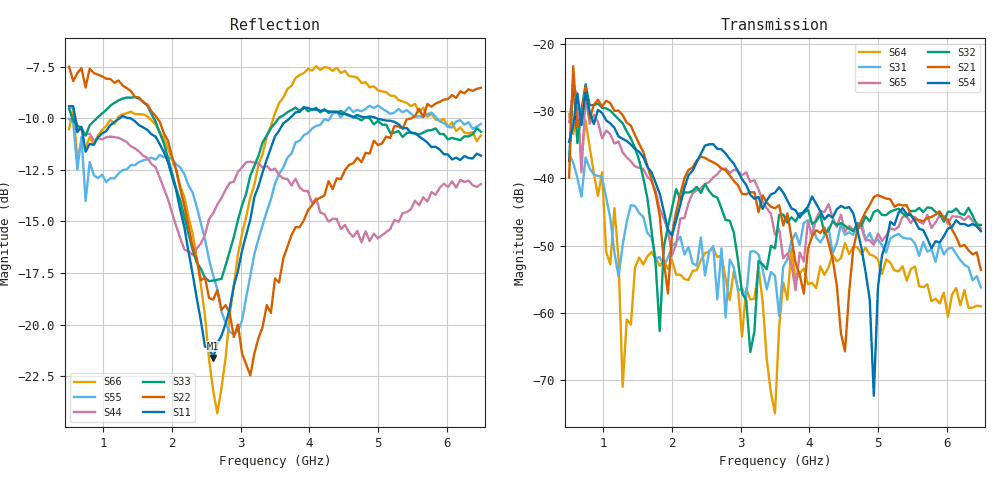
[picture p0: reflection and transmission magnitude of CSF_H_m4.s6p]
!Keysight Technologies,M9804A,MY58100912,A.14.10.03
!Date: Thursday, April 27, 2023 10:28:33
!Correction: S11(C  6-Port  )
!S12(C  6-Port  )
!S13(C  6-Port  )
!S14(C  6-Port  )
!S15(C  6-Port  )
!S16(C  6-Port  )
!S21(C  6-Port  )
!S22(C  6-Port  )
!S23(C  6-Port  )
!S24(C  6-Port  )
!S25(C  6-Port  )
!S26(C  6-Port  )
!S31(C  6-Port  )
!S32(C  6-Port  )
!S33(C  6-Port  )
!S34(C  6-Port  )
!S35(C  6-Port  )
!S36(C  6-Port  )
!S41(C  6-Port  )
!S42(C  6-Port  )
!S43(C  6-Port  )
!S44(C  6-Port  )
!S45(C  6-Port  )
!S46(C  6-Port  )
!S51(C  6-Port  )
!S52(C  6-Port  )
!S53(C  6-Port  )
!S54(C  6-Port  )
!S55(C  6-Port  )
!S56(C  6-Port  )
!S61(C  6-Port  )
!S62(C  6-Port  )
!S63(C  6-Port  )
!S64(C  6-Port  )
!S65(C  6-Port  )
!S66(C  6-Port  )
!S6P File: Measurement: :
# Hz S  RI  R 50
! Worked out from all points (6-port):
!   101 points, 500 MHz to 6.5 GHz, reference 50 ohm
!   strongest paths, dB at 500 MHz, 2 GHz, 3.5 GHz, 5 GHz, 6.5 GHz:
!     S54: -34.5, -48.5, -42.1, -56.3, -47.9
!     S21: -39.8, -48.3, -44.4, -42.5, -53.6
!     S32: -37.4, -44.4, -50.4, -44.7, -46.9
!     S65: -31.6, -51.4, -48.4, -48.2, -47.5
!     S31: -36.3, -50.1, -54.5, -49.1, -56.2
!     S64: -30.4, -52.2, -75.0, -52.1, -59.1
!   lowest |S11| = -21.6 dB at 2.6 GHz (marker M1), VSWR 1.18, Z = 42.6 + j2.06 ohm
!   |S11| at or under -10 dB: 587.7 MHz to 1.237 GHz (649.7 MHz wide, 71.2 % of centre); 1.382 GHz to 3.715 GHz (2.333 GHz wide, 91.5 % of centre); 4.976 GHz to end of sweep
